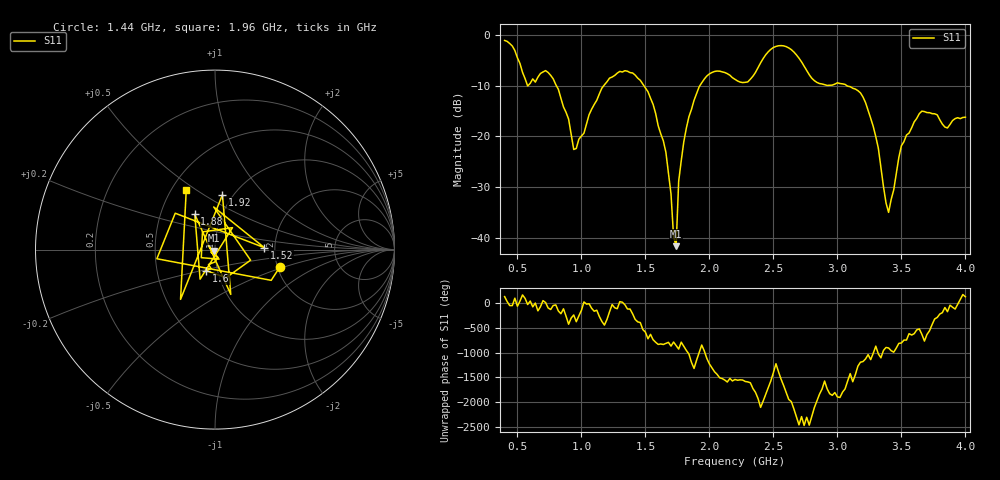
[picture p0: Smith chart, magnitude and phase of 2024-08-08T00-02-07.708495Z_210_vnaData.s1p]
!Created with skrf (http://scikit-rf.org).
# Hz S RI R 50.0
!freq ReS11 ImS11
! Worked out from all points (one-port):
!   181 points, 400 MHz to 4 GHz, reference 50 ohm
!   lowest |S11| = -41.6 dB at 1.74 GHz (marker M1), VSWR 1.02, Z = 49.4 - j0.577 ohm
!   |S11| at or under -10 dB: 804.3 MHz to 1.175 GHz (370.5 MHz wide, 37.4 % of centre); 1.488 GHz to 1.926 GHz (437.5 MHz wide, 25.6 % of centre); 3.074 GHz to end of sweep (the widest 3 of 4)
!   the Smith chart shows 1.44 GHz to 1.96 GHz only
!   S11 on the Smith chart (normalised r, x): 1.44 GHz: 2.07, -0.45; 1.52 GHz: 1.76, +0.04; 1.6 GHz: 0.88, -0.21; 1.88 GHz: 0.74, +0.31; 1.92 GHz: 0.89, +0.60; 1.96 GHz: 0.59, +0.45
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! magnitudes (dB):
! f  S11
! 400 MHz  -1.1
! 580 MHz  -10.1
! 720 MHz  -7.0
! 860 MHz  -14.2
! 960 MHz  -22.4
! 1.16 GHz  -10.5
! 1.3 GHz  -7.2
! 1.44 GHz  -8.5
! 1.52 GHz  -11.2
! 1.6 GHz  -17.9
! 1.66 GHz  -23.1
! 1.72 GHz  -39.7
! 1.74 GHz  -41.6
! 1.76 GHz  -28.8
! 1.88 GHz  -12.9
! 1.92 GHz  -10.2
! 1.96 GHz  -8.7
! 2.2 GHz  -8.7
! 2.5 GHz  -2.5
! 2.66 GHz  -3.4
! 2.84 GHz  -9.4
! 3.1 GHz  -10.2
! 3.28 GHz  -18.0
! 3.4 GHz  -34.9
! 3.5 GHz  -21.8
! 3.56 GHz  -19.3
! 3.66 GHz  -15.0
! 4 GHz  -16.2
